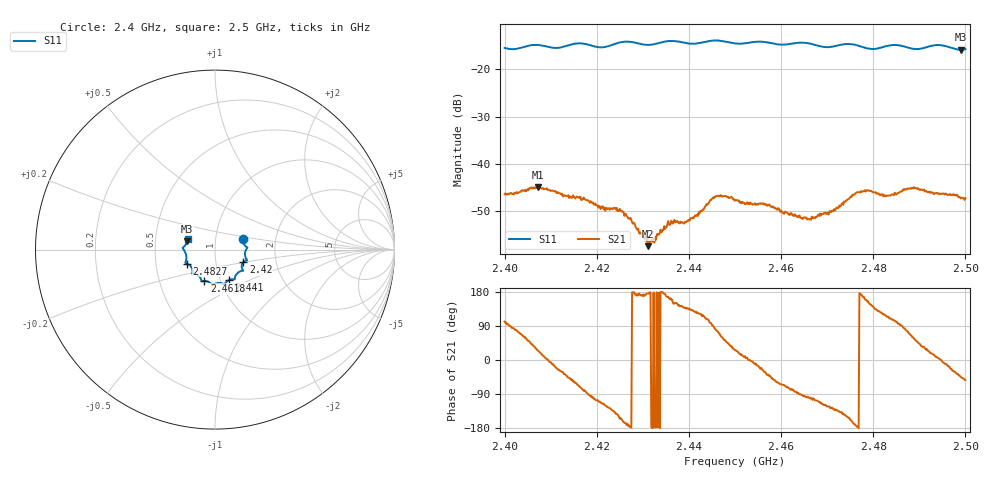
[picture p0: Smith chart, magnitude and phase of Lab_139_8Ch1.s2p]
# Hz S RI R 50
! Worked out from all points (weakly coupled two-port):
!   601 points, 2.4 GHz to 2.5 GHz, reference 50 ohm
!   highest |S21| = -44.90 dB at 2.4072 GHz (marker M1); lowest = -57.4 dB at 2.4312 GHz (marker M2)
!   lowest |S11| = -15.8 dB at 2.499 GHz (marker M3), VSWR 1.38, Z = 36.5 + j3.53 ohm
!   |S11| at or under -10 dB: start of sweep to end of sweep
!   S12 and S22 are empty: the file has one direction only
!   S11 on the Smith chart (normalised r, x): 2.4 GHz: 1.36, +0.17; 2.42 GHz: 1.36, -0.19; 2.441 GHz: 1.10, -0.39; 2.4618 GHz: 0.84, -0.30; 2.4827 GHz: 0.72, -0.12; 2.5 GHz: 0.73, +0.09
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2.4e9  0.1564 0.0617  -0.000926 0.00469  0 0  0 0
2.407167e9  0.1809 0.0107  0.00515 0.00243  0 0  0 0
2.411333e9  0.1669 -0.0213  0.00456 -0.00186  0 0  0 0
2.416667e9  0.1783 -0.0595  0.0011 -0.004  0 0  0 0
2.42e9  0.1579 -0.0695  -0.00103 -0.00351  0 0  0 0
2.425333e9  0.1558 -0.1152  -0.00287 -0.00129  0 0  0 0
2.431167e9  0.1241 -0.1322  -0.00135 9.75e-05  0 0  0 0
2.433333e9  0.1118 -0.1521  -0.00179 -7.14e-05  0 0  0 0
2.435833e9  0.1106 -0.1657  -0.00214 0.000756  0 0  0 0
2.441e9  0.0775 -0.1695  -0.00168 0.00208  0 0  0 0
2.445833e9  0.0516 -0.1952  0.000789 0.00451  0 0  0 0
2.45e9  0.0276 -0.1857  0.00368 0.0018  0 0  0 0
2.461833e9  -0.06 -0.1752  0.000741 -0.00278  0 0  0 0
2.466667e9  -0.0769 -0.1685  -0.00055 -0.00273  0 0  0 0
2.471333e9  -0.1085 -0.1365  -0.00204 -0.00243  0 0  0 0
2.476833e9  -0.1254 -0.1256  -0.00505 -7.62e-06  0 0  0 0
2.482667e9  -0.1568 -0.0778  -0.00214 0.00403  0 0  0 0
2.483333e9  -0.161 -0.0764  -0.00184 0.00426  0 0  0 0
2.488833e9  -0.1598 -0.0388  0.00311 0.00476  0 0  0 0
2.494167e9  -0.1804 0.0089  0.00487 0.000366  0 0  0 0
2.499e9  -0.1542 0.0471  0.00308 -0.00304  0 0  0 0
2.5e9  -0.1516 0.0616  0.00261 -0.00349  0 0  0 0
